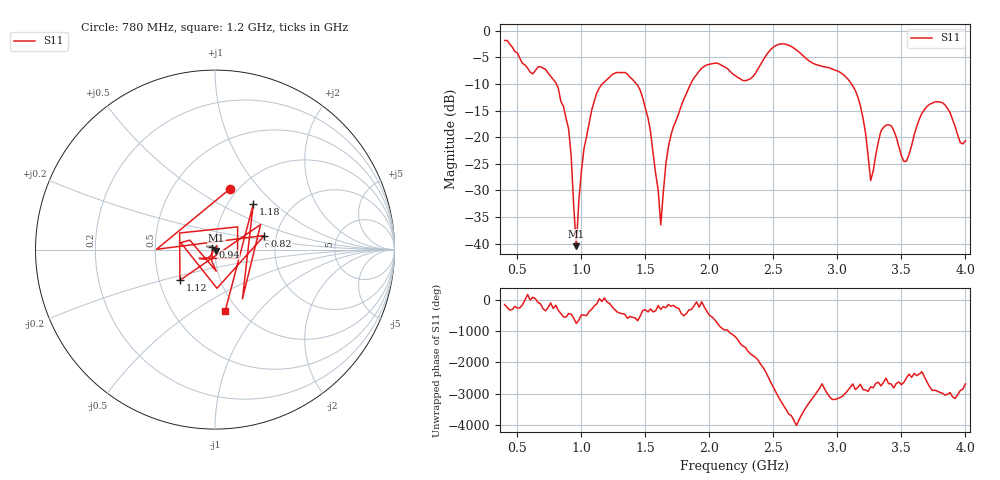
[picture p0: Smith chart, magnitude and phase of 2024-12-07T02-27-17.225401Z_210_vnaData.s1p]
!Created with skrf (http://scikit-rf.org).
# Hz S RI R 50.0
!freq ReS11 ImS11
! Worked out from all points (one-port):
!   181 points, 400 MHz to 4 GHz, reference 50 ohm
!   lowest |S11| = -40.5 dB at 960 MHz (marker M1), VSWR 1.02, Z = 50.7 - j0.604 ohm
!   |S11| at or under -10 dB: 804.5 MHz to 1.163 GHz (358.4 MHz wide, 36.4 % of centre); 1.43 GHz to 1.854 GHz (423.7 MHz wide, 25.8 % of centre); 3.11 GHz to end of sweep
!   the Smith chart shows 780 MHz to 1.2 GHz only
!   S11 on the Smith chart (normalised r, x): 780 MHz: 0.92, +0.71; 820 MHz: 1.73, +0.29; 940 MHz: 0.97, +0.03; 1.12 GHz: 0.64, -0.23; 1.18 GHz: 1.31, +0.74; 1.2 GHz: 0.87, -0.68
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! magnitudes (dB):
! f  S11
! 400 MHz  -1.8
! 780 MHz  -9.2
! 820 MHz  -10.9
! 860 MHz  -14.2
! 900 MHz  -18.4
! 940 MHz  -33.0
! 960 MHz  -40.5
! 1.02 GHz  -22.2
! 1.12 GHz  -11.7
! 1.18 GHz  -9.6
! 1.2 GHz  -9.2
! 1.3 GHz  -7.9
! 1.48 GHz  -12.7
! 1.54 GHz  -19.0
! 1.62 GHz  -36.5
! 1.68 GHz  -21.8
! 1.76 GHz  -15.5
! 1.96 GHz  -6.7
! 2.2 GHz  -8.4
! 2.66 GHz  -3.3
! 3.1 GHz  -9.6
! 3.2 GHz  -16.4
! 3.26 GHz  -28.1
! 3.38 GHz  -17.7
! 3.56 GHz  -23.2
! 3.66 GHz  -15.5
! 3.76 GHz  -13.4
! 4 GHz  -20.7
